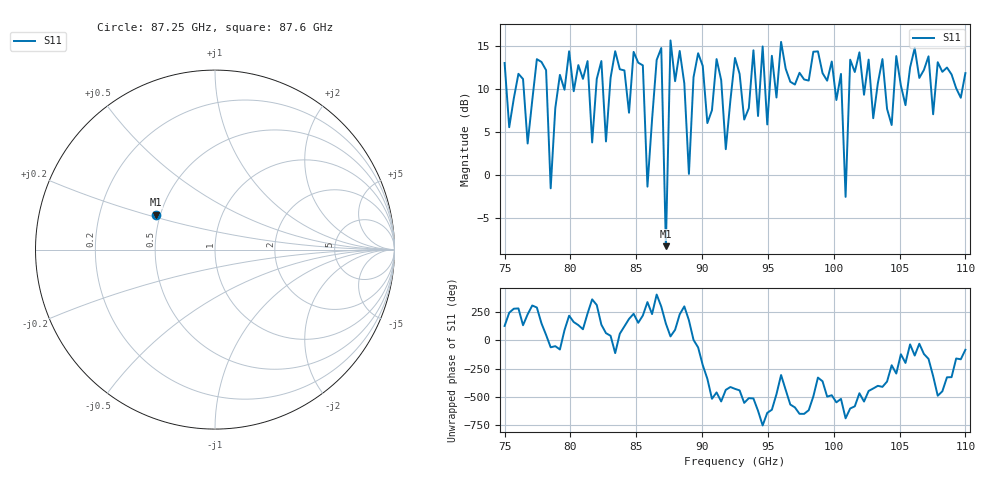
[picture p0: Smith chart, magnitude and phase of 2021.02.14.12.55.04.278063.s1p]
!Created with skrf (http://scikit-rf.org).
# GHz S RI R 50.0
!freq ReS11 ImS11
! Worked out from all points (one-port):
!   101 points, 75 GHz to 110 GHz, reference 50 ohm
!   lowest |S11| = -8.3 dB at 87.25 GHz (marker M1), VSWR 2.24, Z = 23.6 + j10.8 ohm
!   |S11| at or under -10 dB: nowhere
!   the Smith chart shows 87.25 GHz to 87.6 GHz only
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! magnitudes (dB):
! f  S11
! 75 GHz  13.0
! 76.75 GHz  3.6
! 78.15 GHz  12.2
! 78.5 GHz  -1.6
! 79.55 GHz  9.9
! 81.3 GHz  13.2
! 81.65 GHz  3.7
! 82.35 GHz  13.2
! 82.7 GHz  3.9
! 83.75 GHz  12.3
! 85.5 GHz  12.7
! 85.85 GHz  -1.4
! 86.9 GHz  14.7
! 87.25 GHz  -8.3
! 87.6 GHz  15.6
! 88.3 GHz  14.4
! 89 GHz  0.1
! 89.7 GHz  14.1
! 91.1 GHz  13.5
! 91.8 GHz  3.0
! 92.5 GHz  13.6
! 97.05 GHz  10.5
! 100.5 GHz  11.7
! 100.9 GHz  -2.6
! 101.2 GHz  13.4
! 104.4 GHz  5.8
! 105.8 GHz  12.5
! 110 GHz  11.8
